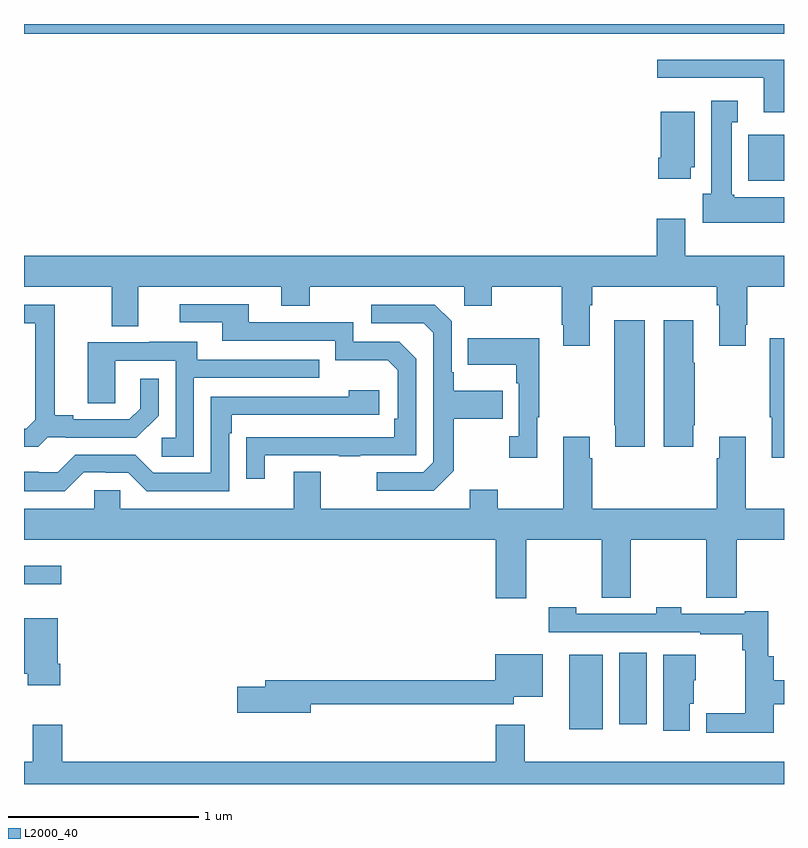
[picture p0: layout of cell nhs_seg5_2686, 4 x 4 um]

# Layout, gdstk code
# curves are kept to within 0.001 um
import gdstk
lib = gdstk.Library(unit=1e-6, precision=1e-09)
def R(c, l, rs):  # rectangles x0, y0, x1, y1
    for r in rs: c.add(gdstk.rectangle(r[:2], r[2:], *l))
def P(c, l, *ps):  # polygons
    for p in ps: c.add(gdstk.Polygon(p, *l))
L2000_40 = (2000, 40)

nhs_seg5_2686 = lib.new_cell('nhs_seg5_2686')
R(nhs_seg5_2686, L2000_40, [(269.87,865.088,270.046,865.48), (270.134,865.113,270.277,865.489), (267,865.851,267.196,865.948), (270.812,867.974,271,868.216), (267,868.748,271,868.799)])
P(nhs_seg5_2686, L2000_40, [(271,868.612),(270.333,868.612),(270.333,868.515),(270.893,868.515),(270.893,868.334),(271,868.334)],
  [(271,867.886),(270.738,867.886),(270.738,867.9),(270.724,867.9),(270.724,868.283),(270.757,868.283),(270.757,868.396),(270.617,868.396),(270.617,867.906),(270.572,867.906),(270.572,867.752),(271,867.752)],
  [(270.508,868.044),(270.529,868.044),(270.529,868.336),(270.35,868.336),(270.35,868.096),(270.338,868.096),(270.338,867.984),(270.508,867.984)],
  [(267,867.416),(267.461,867.416),(267.461,867.208),(267.601,867.208),(267.601,867.416),(268.355,867.416),(268.355,867.317),(268.503,867.317),(268.503,867.416),(269.316,867.416),(269.316,867.317),(269.463,867.317),(269.463,867.416),(269.83,867.416),(269.83,867.217),(269.837,867.217),(269.837,867.105),(269.977,867.105),(269.977,867.32),(269.99,867.32),(269.99,867.416),(270.647,867.416),(270.647,867.32),(270.659,867.32),(270.659,867.105),(270.799,867.105),(270.799,867.217),(270.807,867.217),(270.807,867.416),(271,867.416),(271,867.58),(270.481,867.58),(270.481,867.775),(270.329,867.775),(270.329,867.58),(267,867.58)],
  [(268.267,866.529),(268.657,866.529),(268.657,866.524),(268.769,866.524),(268.769,866.529),(269.064,866.529),(269.064,867.036),(268.974,867.126),(268.734,867.126),(268.734,867.228),(268.183,867.228),(268.183,867.324),(267.819,867.324),(267.819,867.228),(268.043,867.228),(268.043,867.132),(268.638,867.132),(268.638,867.029),(268.915,867.029),(268.968,866.976),(268.968,866.722),(268.948,866.722),(268.948,866.625),(268.171,866.624),(268.171,866.406),(268.267,866.406)],
  [(267.126,866.625),(267.22,866.625),(267.22,866.622),(267.592,866.622),(267.708,866.738),(267.708,866.932),(267.611,866.932),(267.611,866.775),(267.554,866.718),(267.259,866.718),(267.259,866.741),(267.163,866.741),(267.163,867.321),(267,867.321),(267,867.225),(267.059,867.225),(267.059,866.717),(267.012,866.67),(267,866.67),(267,866.573),(267.074,866.573)],
  [(269.263,866.449),(269.263,866.722),(269.519,866.722),(269.519,866.869),(269.263,866.869),(269.263,866.965),(269.25,866.965),(269.25,867.234),(269.163,867.321),(268.827,867.321),(268.827,867.225),(269.103,867.225),(269.154,867.174),(269.154,866.493),(269.1,866.439),(268.857,866.439),(268.857,866.343),(269.157,866.343)],
  [(270.268,867.241),(270.107,867.241),(270.107,866.886),(270.106,866.886),(270.106,866.686),(270.113,866.686),(270.113,866.574),(270.268,866.574)],
  [(270.523,866.686),(270.531,866.686),(270.531,867.017),(270.523,867.017),(270.523,867.241),(270.368,867.241),(270.368,866.574),(270.523,866.574)],
  [(269.701,866.729),(269.713,866.729),(269.713,867.145),(269.335,867.145),(269.335,867.005),(269.592,867.005),(269.592,866.909),(269.604,866.909),(269.604,866.63),(269.553,866.63),(269.553,866.517),(269.701,866.517)],
  [(271,867.145),(270.924,867.145),(270.924,866.729),(270.935,866.729),(270.935,866.517),(271,866.517)],
  [(267.894,866.937),(268.553,866.937),(268.553,867.033),(267.913,867.033),(267.913,867.127),(267.659,867.127),(267.659,867.123),(267.335,867.123),(267.335,866.803),(267.48,866.803),(267.48,867.027),(267.798,867.027),(267.798,866.622),(267.726,866.622),(267.726,866.521),(267.894,866.521)],
  [(267.315,866.439),(267.431,866.439),(267.431,866.436),(267.549,866.436),(267.645,866.34),(268.08,866.34),(268.08,866.645),(268.093,866.645),(268.093,866.742),(268.87,866.742),(268.87,866.872),(268.709,866.872),(268.709,866.838),(267.984,866.838),(267.984,866.436),(267.681,866.436),(267.585,866.532),(267.27,866.532),(267.177,866.439),(267.077,866.439),(267.077,866.443),(267,866.443),(267,866.339),(267.215,866.339)],
  [(269.643,866.084),(270.04,866.084),(270.04,865.78),(270.194,865.78),(270.194,866.084),(270.592,866.084),(270.592,865.78),(270.752,865.78),(270.752,866.084),(271,866.084),(271,866.248),(270.799,866.248),(270.799,866.626),(270.659,866.626),(270.659,866.513),(270.647,866.513),(270.647,866.248),(269.99,866.248),(269.99,866.513),(269.977,866.513),(269.977,866.626),(269.837,866.626),(269.837,866.248),(269.493,866.248),(269.493,866.347),(269.345,866.347),(269.345,866.248),(268.561,866.248),(268.561,866.443),(268.421,866.443),(268.421,866.248),(267.507,866.248),(267.507,866.346),(267.369,866.346),(267.369,866.248),(267,866.248),(267,866.084),(269.483,866.084),(269.483,865.776),(269.643,865.776)],
  [(270.947,865.218),(271,865.218),(271,865.346),(270.947,865.346),(270.947,865.471),(270.917,865.471),(270.917,865.708),(270.794,865.708),(270.794,865.695),(270.459,865.695),(270.459,865.728),(270.327,865.728),(270.327,865.695),(269.907,865.695),(269.907,865.728),(269.763,865.728),(269.763,865.599),(270.559,865.599),(270.559,865.587),(270.781,865.587),(270.781,865.502),(270.796,865.502),(270.796,865.172),(270.591,865.172),(270.591,865.07),(270.947,865.07)],
  [(267.191,865.432),(267.178,865.432),(267.178,865.672),(267,865.672),(267,865.38),(267.02,865.38),(267.02,865.32),(267.191,865.32)],
  [(268.51,865.218),(269.578,865.218),(269.578,865.259),(269.731,865.259),(269.731,865.483),(269.48,865.483),(269.48,865.346),(268.271,865.346),(268.271,865.31),(268.122,865.31),(268.122,865.175),(268.51,865.175)],
  [(270.505,865.221),(270.526,865.221),(270.526,865.344),(270.535,865.344),(270.535,865.48),(270.365,865.48),(270.365,865.08),(270.505,865.08)],
  [(271,864.916),(269.635,864.916),(269.635,865.111),(269.483,865.111),(269.483,864.916),(267.2,864.916),(267.2,865.111),(267.047,865.111),(267.047,864.916),(267,864.916),(267,864.799),(271,864.799)])

lib.write_gds('nhs_seg5_2686.gds')
